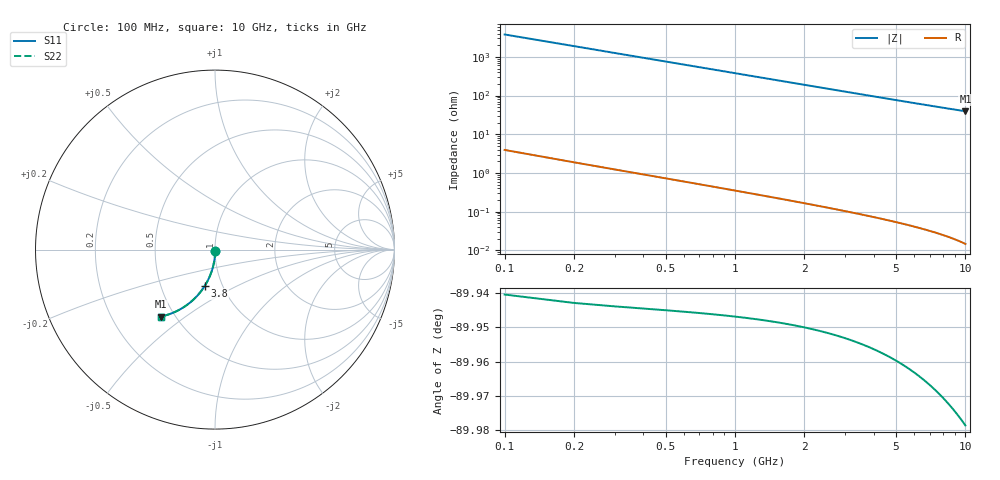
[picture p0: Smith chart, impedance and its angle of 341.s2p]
# Hz S RI R 50.00
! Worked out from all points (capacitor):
!   100 points, 100 MHz to 10 GHz, reference 50 ohm
!   read as one part in shunt: C = 420 fF near 100 MHz
!   lowest |Z| = 39.4 ohm at 10 GHz (marker M1)
!   S11 on the Smith chart (normalised r, x): 100 MHz: 1.00, -0.01; 3.8 GHz: 0.82, -0.35; 10 GHz: 0.42, -0.41
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1e8  0.00101 -0.00571  0.9989 -0.00748  0.9989 -0.00748  0.00101 -0.00571
2e8  0.000882 -0.0114  0.9987 -0.015  0.9987 -0.015  0.000882 -0.0114
3e8  0.000668 -0.0171  0.9985 -0.0224  0.9985 -0.0224  0.000668 -0.0171
4e8  0.000367 -0.0228  0.9982 -0.0299  0.9982 -0.0299  0.000367 -0.0228
5e8  -1.88e-05 -0.0285  0.9978 -0.0373  0.9978 -0.0373  -1.88e-05 -0.0285
6e8  -0.00049 -0.0342  0.9973 -0.0448  0.9973 -0.0448  -0.00049 -0.0342
7e8  -0.00105 -0.0398  0.9967 -0.0522  0.9967 -0.0522  -0.00105 -0.0398
8e8  -0.00169 -0.0455  0.996 -0.0597  0.996 -0.0597  -0.00169 -0.0455
9e8  -0.00241 -0.0512  0.9953 -0.0671  0.9953 -0.0671  -0.00241 -0.0512
1.1e9  -0.00411 -0.0624  0.9935 -0.0819  0.9935 -0.0819  -0.00411 -0.0624
1.4e9  -0.00728 -0.0791  0.9902 -0.1039  0.9902 -0.1039  -0.00728 -0.0791
1.8e9  -0.0127 -0.1011  0.9846 -0.133  0.9846 -0.133  -0.0127 -0.1011
2.1e9  -0.0175 -0.1173  0.9796 -0.1545  0.9796 -0.1545  -0.0175 -0.1173
2.5e9  -0.0251 -0.1385  0.9717 -0.1827  0.9717 -0.1827  -0.0251 -0.1385
2.9e9  -0.0338 -0.159  0.9626 -0.2104  0.9626 -0.2104  -0.0338 -0.159
3.4e9  -0.0462 -0.1837  0.9497 -0.2439  0.9497 -0.2439  -0.0462 -0.1837
3.8e9  -0.0573 -0.2026  0.9381 -0.2699  0.9381 -0.2699  -0.0573 -0.2026
4.4e9  -0.0758 -0.2293  0.9188 -0.3074  0.9188 -0.3074  -0.0758 -0.2293
5.1e9  -0.0996 -0.2579  0.8939 -0.3485  0.8939 -0.3485  -0.0996 -0.2579
6.7e9  -0.1614 -0.312  0.829 -0.4313  0.829 -0.4313  -0.1614 -0.312
8.4e9  -0.2336 -0.3518  0.7526 -0.5018  0.7526 -0.5018  -0.2336 -0.3518
1e10  -0.303 -0.3732  0.6782 -0.5525  0.6782 -0.5525  -0.303 -0.3732
